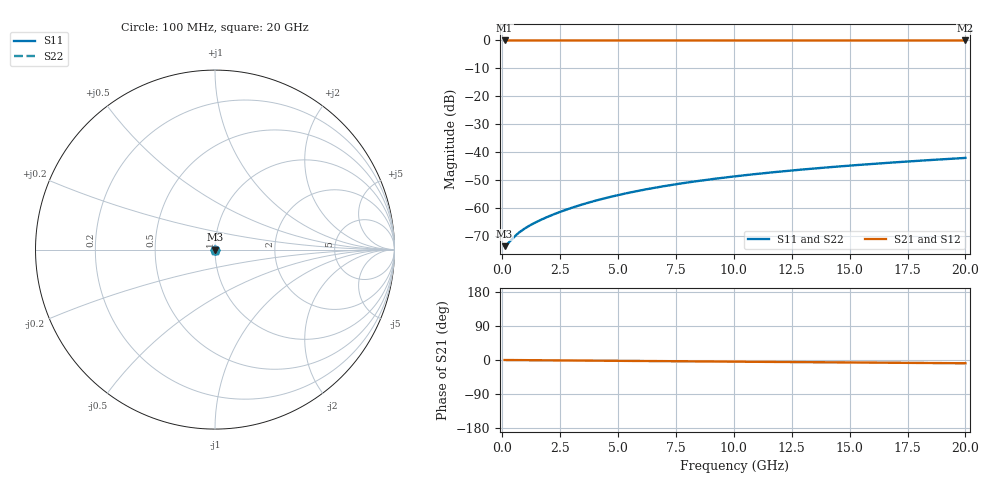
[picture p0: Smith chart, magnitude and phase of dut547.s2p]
! Touchstone file exported from HFSS 2026.1.0
!  File:  C:/ffzhzh/LocalFiles/Ansys_Project_Files/temp_train_TSV_547_1783024195_55676.aedt
!  Generated:  04:31:53 AM Jul  3, 2026
!  Design:  TSV
!  Project:  temp_train_TSV_547_1783024195_55676
! Variables:
!  h_bsmrdl = 2um
!  h_ox = 20um
!  h_rdl = 5um
!  h_sub = 91.13um
!  h_tmrdl = 5um
!  h_tsv = 91.13um
!  h_via = 3um
!  l_bsmrdl = 300um
!  l_sub = 415.76um
!  l_tmrdl = 200um
!  m_sub = 200um
!  pitch = 30.54um
!  r_tsv = 7.88um
!  s_tmrdl = 10um
!  w_bsmrdl = 18um
!  w_sub = 500um
!  w_tmrdl = 12um
!  x_tsv_center1 = 206um
!  x_tsv_center2 = 524um
!  x_tsv_center3 = 736um
!  x_tsv_center4 = 1054um
!  x_tsv_center5 = 1266um
!  x_tsv_center6 = 1584um
# GHz S MA R 50.000000
! Terminal data exported
! Port[1] = TSV1_1_T1
! Port[2] = TSV1_1_T2
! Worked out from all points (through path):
!   200 points, 100 MHz to 20 GHz, reference 50 ohm
!   highest |S21| = 0.00 dB at 100 MHz (marker M1); lowest = 0.0 dB at 20 GHz (marker M2)
!   group delay of S21, straight-line fit = 1.19 ps
!   lowest |S11| = -73.5 dB at 100 MHz (marker M3), VSWR 1.00, Z = 50 + j0.00161 ohm
!   |S11| at or under -10 dB: start of sweep to end of sweep
!   |S22| runs from -73.5 to -42.0 dB; largest |S21 - S12| = 3e-15
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0.1  0.0002115 4.4  0.9998 -0.0  0.9998 -0.0  0.0002115 4.4
! Gamma 0 0 0 0
! Port Impedance 50 0 50 0
0.2  0.0002276 7.3  0.9998 -0.1  0.9998 -0.1  0.0002276 7.3
0.5  0.0003062 5.1  0.9997 -0.2  0.9997 -0.2  0.0003062 5.1
0.7  0.0003632 -1.1  0.9996 -0.3  0.9996 -0.3  0.0003632 -1.1
1  0.0004454 -11.4  0.9996 -0.4  0.9996 -0.4  0.0004454 -11.4
1.3  0.0005254 -20.5  0.9995 -0.6  0.9995 -0.6  0.0005254 -20.5
1.8  0.0006619 -32.2  0.9994 -0.8  0.9994 -0.8  0.0006619 -32.2
2.3  0.0008069 -40.5  0.9994 -1.0  0.9994 -1.0  0.0008069 -40.5
2.9  0.000993 -47.5  0.9993 -1.3  0.9993 -1.3  0.000993 -47.6
3.5  0.001191 -52.6  0.9993 -1.5  0.9993 -1.5  0.001191 -52.6
4.2  0.001435 -57.1  0.9992 -1.8  0.9992 -1.8  0.001435 -57.1
5  0.001728 -60.9  0.9991 -2.2  0.9991 -2.2  0.001728 -60.9
5.9  0.00207 -64.4  0.999 -2.6  0.999 -2.6  0.00207 -64.4
6.8  0.002422 -67.1  0.9989 -3.0  0.9989 -3.0  0.002422 -67.1
7.6  0.002741 -69.3  0.9989 -3.3  0.9989 -3.3  0.002741 -69.3
8.4  0.003064 -71.1  0.9988 -3.6  0.9988 -3.6  0.003064 -71.1
10.1  0.00376 -74.4  0.9987 -4.4  0.9987 -4.4  0.00376 -74.4
11.7  0.004423 -76.9  0.9986 -5.1  0.9986 -5.1  0.004423 -76.9
13.4  0.005134 -79.2  0.9985 -5.8  0.9985 -5.8  0.005134 -79.2
15  0.00581 -81.0  0.9984 -6.5  0.9984 -6.5  0.00581 -81.0
16.7  0.006537 -82.7  0.9983 -7.2  0.9983 -7.2  0.006537 -82.7
20  0.007974 -85.5  0.9981 -8.6  0.9981 -8.6  0.007974 -85.5
